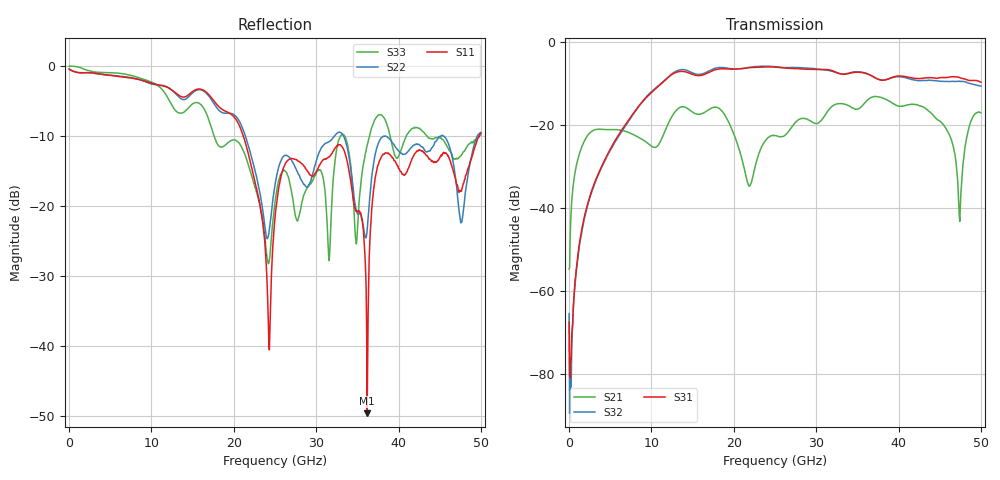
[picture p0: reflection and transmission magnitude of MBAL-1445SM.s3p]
!Marki	Microwave	Inc.
!Sales	Email:	info@markimicrowave.com
!Support	Email:	support@markimicrowave.com
!Phone:	408-778-4200
!Model	Number:	MBAL-1445SM
!Filename:	MBAL-1445SM.s3p
!Description:	MMIC 14-45 GHz BALUN
!Port	1:	0°	balanced
!	2:	180°	balanced
!	3:	Common
!Measurements:	"<S11,S12,S13>"
!	"<S21,S22,S23>"
!	"<S31,S32,S33>"
#	Hz	S	dB	R	50
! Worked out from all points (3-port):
!   801 points, 10 MHz to 50 GHz, reference 50 ohm
!   strongest paths, dB at 10 MHz, 12.51 GHz, 25 GHz, 37.5 GHz, 50 GHz:
!     S31: -67.5, -7.9, -6.1, -9.0, -9.8
!     S32: -65.5, -7.7, -6.0, -9.0, -10.7
!     S21: -54.7, -18.0, -22.6, -13.2, -17.1
!   lowest |S11| = -49.6 dB at 36.19 GHz (marker M1), VSWR 1.01, Z = 49.7 + j0.12 ohm
!   |S11| at or under -10 dB: 21.16 GHz to 49.75 GHz (28.59 GHz wide, 80.6 % of centre)
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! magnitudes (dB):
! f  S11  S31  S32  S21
! 10 MHz  -0.4  -67.5  -65.5  -54.7
! 1.76 GHz  -0.9  -43.1  -43.5  -24.3
! 7.321 GHz  -1.7  -18.6  -18.9  -21.9
! 24.26 GHz  -39.2  -6.1  -5.9  -23.0
! 25 GHz  -21.7  -6.1  -6.0  -22.6
! 33.07 GHz  -11.4  -7.8  -7.8  -14.9
! 36.19 GHz  -49.6  -7.7  -7.7  -14.1
! 38.06 GHz  -12.7  -9.3  -9.2  -13.6
! 47.44 GHz  -17.7  -8.6  -9.5  -43.3
! 50 GHz  -9.5  -9.8  -10.7  -17.1
